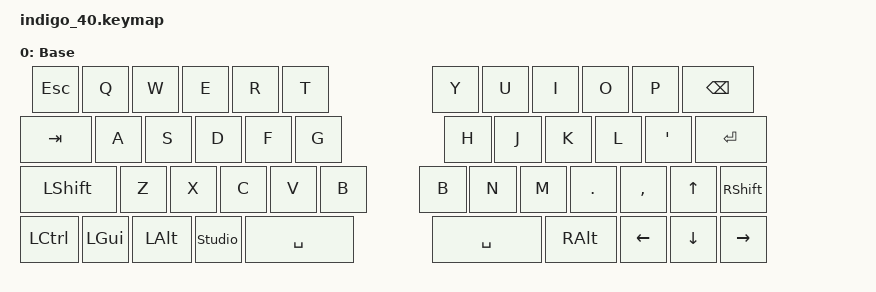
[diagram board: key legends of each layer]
#include <behaviors.dtsi>
#include <dt-bindings/zmk/keys.h>
#include <dt-bindings/zmk/bt.h>
#include <dt-bindings/zmk/outputs.h>

/ {
    keymap {
        compatible = "zmk,keymap";

        default_layer { // Layer 0
            display-name = "Base";
            bindings = <
                &kp ESCAPE  &kp Q       &kp W       &kp E       &kp R       &kp T                   &kp Y       &kp U       &kp I       &kp O       &kp P       &kp BACKSPACE
                &kp TAB     &kp A       &kp S       &kp D       &kp F       &kp G                   &kp H       &kp J       &kp K       &kp L       &kp APOS    &kp ENTER
                &kp LSHIFT  &kp Z       &kp X       &kp C       &kp V       &kp B       &kp B       &kp N       &kp M       &kp DOT     &kp COMMA   &kp UP      &kp RSHFT
                &kp LCTRL   &kp LGUI    &kp LALT    &studio_unlock          &kp SPACE   &kp SPACE               &kp RALT                &kp LEFT    &kp DOWN    &kp RIGHT
            >;
        };
    };
};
